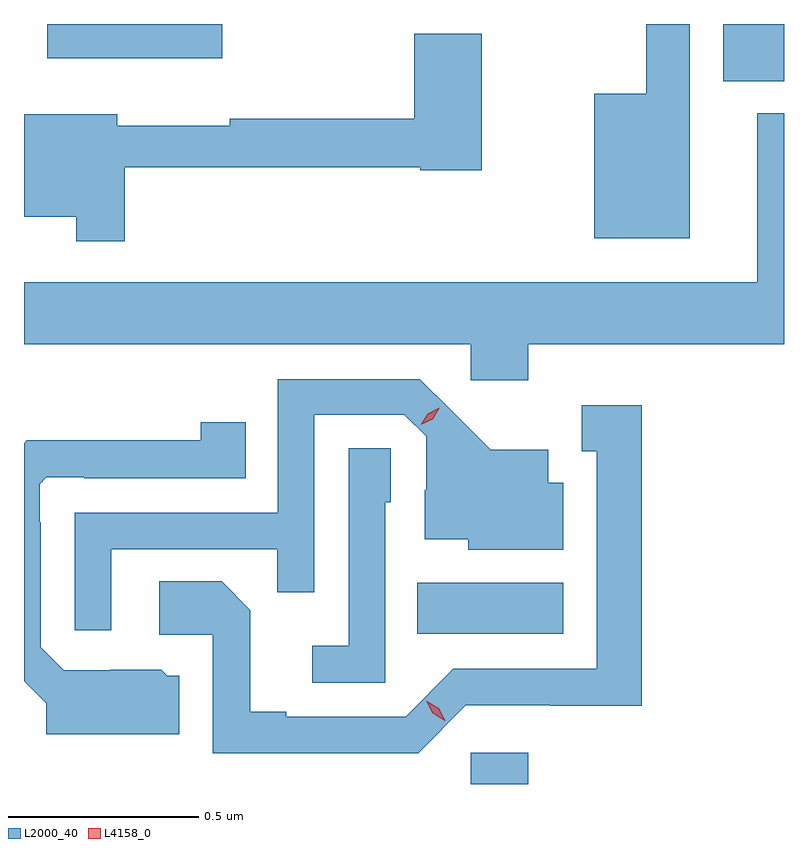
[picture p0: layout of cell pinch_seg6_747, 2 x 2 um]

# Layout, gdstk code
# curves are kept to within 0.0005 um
import gdstk
lib = gdstk.Library(unit=1e-6, precision=1e-09)
def R(c, l, rs):  # rectangles x0, y0, x1, y1
    for r in rs: c.add(gdstk.rectangle(r[:2], r[2:], *l))
def P(c, l, *ps):  # polygons
    for p in ps: c.add(gdstk.Polygon(p, *l))
L2000_40 = (2000, 40)
L4158_0 = (4158, 0)

pinch_seg6_747 = lib.new_cell('pinch_seg6_747')
R(pinch_seg6_747, L2000_40, [(623.466,936.855,623.618,936.937), (623.326,937.25,623.71,937.384), (624.131,938.705,624.291,938.855), (622.352,938.765,622.813,938.855)])
P(pinch_seg6_747, L2000_40, [(624.043,938.855),(623.929,938.855),(623.929,938.671),(623.792,938.671),(623.792,938.291),(624.043,938.291)],
  [(622.556,938.478),(623.334,938.478),(623.334,938.47),(623.496,938.47),(623.496,938.83),(623.318,938.83),(623.318,938.606),(622.833,938.606),(622.833,938.587),(622.537,938.587),(622.537,938.617),(622.291,938.617),(622.291,938.348),(622.428,938.348),(622.428,938.283),(622.556,938.283)],
  [(623.618,938.012),(624.291,938.012),(624.291,938.62),(624.221,938.62),(624.221,938.176),(622.291,938.176),(622.291,938.012),(623.466,938.012),(623.466,937.917),(623.618,937.917)],
  [(622.521,937.473),(622.957,937.473),(622.957,937.36),(623.055,937.36),(623.055,937.827),(623.292,937.827),(623.349,937.77),(623.349,937.628),(623.345,937.628),(623.345,937.499),(623.46,937.499),(623.46,937.472),(623.71,937.472),(623.71,937.648),(623.671,937.648),(623.671,937.735),(623.519,937.735),(623.332,937.92),(622.959,937.92),(622.959,937.569),(622.425,937.569),(622.425,937.26),(622.521,937.26)],
  [(623.454,937.062),(623.676,937.062),(623.676,937.061),(623.917,937.061),(623.917,937.852),(623.759,937.852),(623.759,937.731),(623.798,937.731),(623.798,937.158),(623.421,937.158),(623.295,937.032),(622.981,937.032),(622.981,937.045),(622.887,937.045),(622.887,937.312),(622.811,937.388),(622.647,937.388),(622.647,937.248),(622.788,937.248),(622.788,936.936),(623.328,936.936)],
  [(622.699,937.14),(622.668,937.14),(622.652,937.156),(622.518,937.156),(622.518,937.155),(622.395,937.155),(622.335,937.215),(622.335,937.544),(622.332,937.544),(622.332,937.644),(622.35,937.662),(622.45,937.662),(622.45,937.659),(622.874,937.659),(622.874,937.807),(622.756,937.807),(622.756,937.76),(622.399,937.76),(622.399,937.759),(622.298,937.759),(622.291,937.752),(622.291,937.126),(622.349,937.068),(622.349,936.986),(622.699,936.986)],
  [(623.241,937.596),(623.256,937.596),(623.256,937.739),(623.145,937.739),(623.145,937.219),(623.049,937.219),(623.049,937.122),(623.241,937.122)])
P(pinch_seg6_747, L4158_0, [(623.398,937.021),(623.367,937.041),(623.35,937.074),(623.35,937.074),(623.35,937.074),(623.382,937.054),(623.399,937.021),(623.399,937.021)],
  [(623.335,937.8),(623.335,937.8),(623.353,937.83),(623.384,937.845),(623.384,937.845),(623.384,937.844),(623.366,937.815),(623.335,937.8)])

lib.write_gds('pinch_seg6_747.gds')
